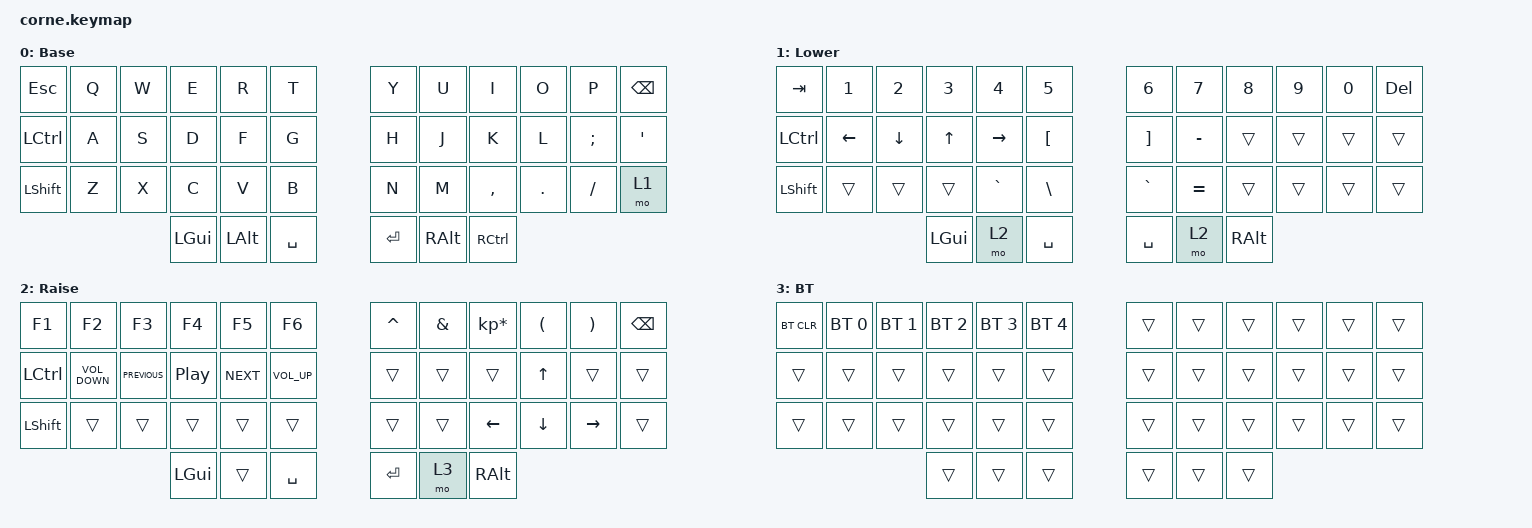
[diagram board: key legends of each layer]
/*
 * Copyright (c) 2020 The ZMK Contributors
 *
 * SPDX-License-Identifier: MIT
 */

#include <behaviors.dtsi>
#include <dt-bindings/zmk/bt.h>
#include <dt-bindings/zmk/keys.h>

/ {
    keymap {
        compatible = "zmk,keymap";

        default_layer {
            // -----------------------------------------------------------------------------------------
            // |  TAB |  Q  |  W  |  E  |  R  |  T  |   |  Y  |  U   |  I  |  O  |  P  | BKSP |
            // | CTRL |  A  |  S  |  D  |  F  |  G  |   |  H  |  J   |  K  |  L  |  ;  |  '   |
            // | SHFT |  Z  |  X  |  C  |  V  |  B  |   |  N  |  M   |  ,  |  .  |  /  | ESC  |
            //                    | GUI | LWR | SPC |   | ENT | RSE  | ALT |

            display-name = "Base";
            bindings = <
&kp ESC    &kp Q  &kp W  &kp E     &kp R         &kp T        &kp Y    &kp U          &kp I      &kp O    &kp P     &kp BSPC
&kp LCTRL  &kp A  &kp S  &kp D     &kp F         &kp G        &kp H    &kp J          &kp K      &kp L    &kp SEMI  &kp SQT
&kp LSHFT  &kp Z  &kp X  &kp C     &kp V         &kp B        &kp N    &kp M          &kp COMMA  &kp DOT  &kp FSLH  &mo 1
                         &kp LGUI  &kp LEFT_ALT  &kp SPACE    &kp RET  &kp RIGHT_ALT  &kp RCTRL
            >;
        };

        lower_layer {
            // -----------------------------------------------------------------------------------------
            // |  TAB |  1  |  2  |  3  |  4  |  5  |   |  6  |  7  |  8  |  9  |  0  | BKSP |
            // | BTCLR| BT1 | BT2 | BT3 | BT4 | BT5 |   | LFT | DWN |  UP | RGT |     |      |
            // | SHFT |     |     |     |     |     |   |     |     |     |     |     |      |
            //                    | GUI |     | SPC |   | ENT |     | ALT |

            display-name = "Lower";
            bindings = <
&kp TAB    &kp N1    &kp N2    &kp N3    &kp N4     &kp N5              &kp N6             &kp N7     &kp N8    &kp N9  &kp N0  &kp DELETE
&kp LCTRL  &kp LEFT  &kp DOWN  &kp UP    &kp RIGHT  &kp LEFT_BRACKET    &kp RIGHT_BRACKET  &kp MINUS  &trans    &trans  &trans  &trans
&kp LSHFT  &trans    &trans    &trans    &kp GRAVE  &kp BSLH            &kp GRAVE          &kp EQUAL  &trans    &trans  &trans  &trans
                               &kp LGUI  &mo 2      &kp SPACE           &kp SPACE          &mo 2      &kp RALT
            >;
        };

        raise_layer {
            // -----------------------------------------------------------------------------------------
            // |  TAB |  !  |  @  |  #  |  $  |  %  |   |  ^  |  &  |  *  |  (  |  )  | BKSP |
            // | CTRL |     |     |     |     |     |   |  -  |  =  |  [  |  ]  |  \  |  `   |
            // | SHFT |     |     |     |     |     |   |  _  |  +  |  {  |  }  | "|" |  ~   |
            //                    | GUI |     | SPC |   | ENT |     | ALT |

            display-name = "Raise";
            bindings = <
&kp F1     &kp F2             &kp F3          &kp F4            &kp F5      &kp F6             &kp CARET  &kp AMPS  &kp KP_MULTIPLY  &kp LPAR      &kp RPAR   &kp BSPC
&kp LCTRL  &kp C_VOLUME_DOWN  &kp C_PREVIOUS  &kp C_PLAY_PAUSE  &kp C_NEXT  &kp C_VOLUME_UP    &trans     &trans    &trans           &kp UP_ARROW  &trans     &trans
&kp LSHFT  &trans             &trans          &trans            &trans      &trans             &trans     &trans    &kp LEFT         &kp DOWN      &kp RIGHT  &trans
                                              &kp LGUI          &trans      &kp SPACE          &kp RET    &mo 3     &kp RALT
            >;
        };

        layer_3 {
            bindings = <
&bt BT_CLR  &bt BT_SEL 0  &bt BT_SEL 1  &bt BT_SEL 2  &bt BT_SEL 3  &bt BT_SEL 4    &trans  &trans  &trans  &trans  &trans  &trans
&trans      &trans        &trans        &trans        &trans        &trans          &trans  &trans  &trans  &trans  &trans  &trans
&trans      &trans        &trans        &trans        &trans        &trans          &trans  &trans  &trans  &trans  &trans  &trans
                                        &trans        &trans        &trans          &trans  &trans  &trans
            >;

            label = "BT";
        };
    };
};
